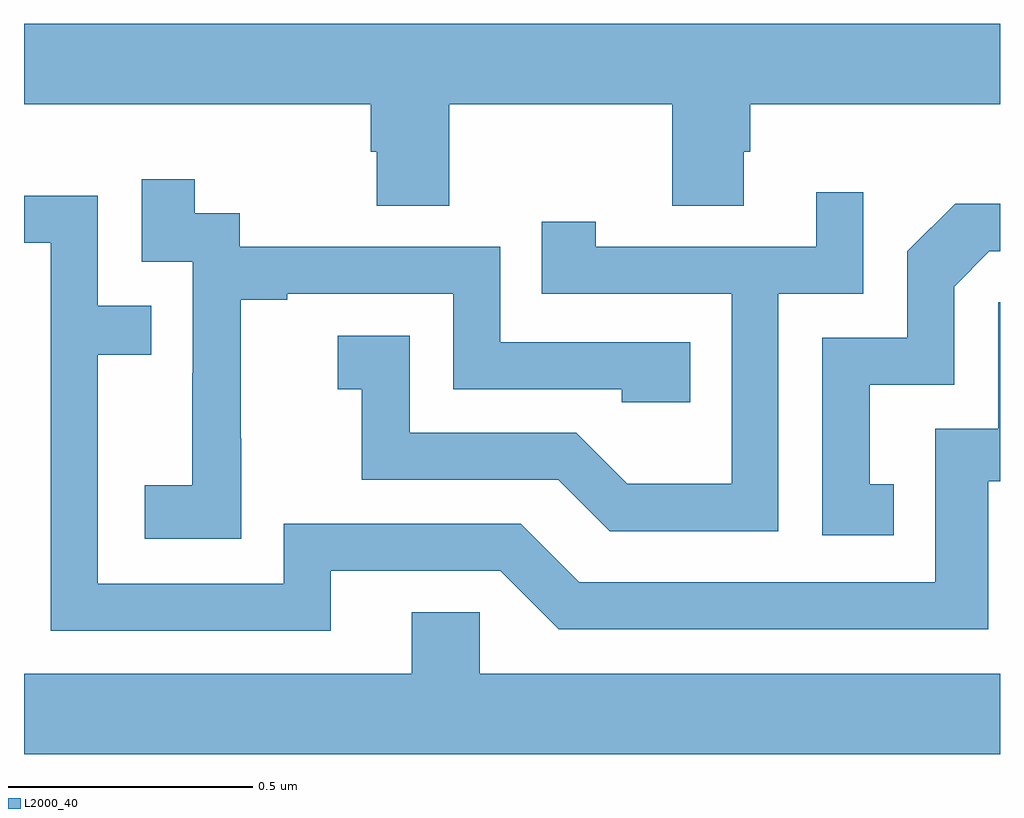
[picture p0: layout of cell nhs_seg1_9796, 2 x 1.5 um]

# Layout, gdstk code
import gdstk
lib = gdstk.Library(unit=1e-6, precision=1e-09)
def P(c, l, *ps):  # polygons
    for p in ps: c.add(gdstk.Polygon(p, *l))
L2000_40 = (2000, 40)

nhs_seg1_9796 = lib.new_cell('nhs_seg1_9796')
P(nhs_seg1_9796, L2000_40, [(233.871,543.74),(234.328,543.74),(234.328,543.532),(234.475,543.532),(234.475,543.642),(234.488,543.642),(234.488,543.74),(235,543.74),(235,543.904),(233,543.904),(233,543.74),(233.711,543.74),(233.711,543.642),(233.723,543.642),(233.723,543.532),(233.871,543.532)],
  [(233.445,543.055),(233.444,543.055),(233.444,543.339),(233.539,543.339),(233.539,543.351),(233.88,543.351),(233.88,543.156),(234.225,543.156),(234.225,543.129),(234.365,543.129),(234.365,543.252),(233.976,543.252),(233.976,543.447),(233.442,543.447),(233.442,543.516),(233.35,543.516),(233.35,543.586),(233.241,543.586),(233.241,543.417),(233.346,543.417),(233.346,543.188),(233.345,543.188),(233.345,542.959),(233.247,542.959),(233.247,542.849),(233.445,542.849)],
  [(234.546,543.351),(234.72,543.351),(234.72,543.559),(234.623,543.559),(234.623,543.447),(234.172,543.447),(234.172,543.499),(234.061,543.499),(234.061,543.351),(234.45,543.351),(234.45,542.962),(234.236,542.962),(234.132,543.066),(233.79,543.066),(233.79,543.265),(233.643,543.265),(233.643,543.155),(233.692,543.155),(233.692,542.97),(234.095,542.97),(234.2,542.865),(234.546,542.865)],
  [(233.629,542.784),(233.976,542.784),(234.096,542.664),(234.976,542.664),(234.976,542.967),(235,542.967),(235,543.334),(234.996,543.334),(234.996,543.075),(234.867,543.075),(234.867,542.76),(234.138,542.76),(234.018,542.88),(233.532,542.88),(233.532,542.757),(233.151,542.757),(233.151,543.226),(233.261,543.226),(233.261,543.327),(233.151,543.327),(233.151,543.552),(233,543.552),(233,543.456),(233.055,543.456),(233.055,542.661),(233.629,542.661)],
  [(234.782,542.961),(234.733,542.961),(234.733,543.165),(234.906,543.165),(234.906,543.366),(234.978,543.438),(235,543.438),(235,543.536),(234.908,543.536),(234.81,543.438),(234.81,543.261),(234.636,543.261),(234.636,542.856),(234.782,542.856)],
  [(235,542.572),(233.934,542.572),(233.934,542.699),(233.795,542.699),(233.795,542.572),(233,542.572),(233,542.408),(235,542.408)])

lib.write_gds('nhs_seg1_9796.gds')
